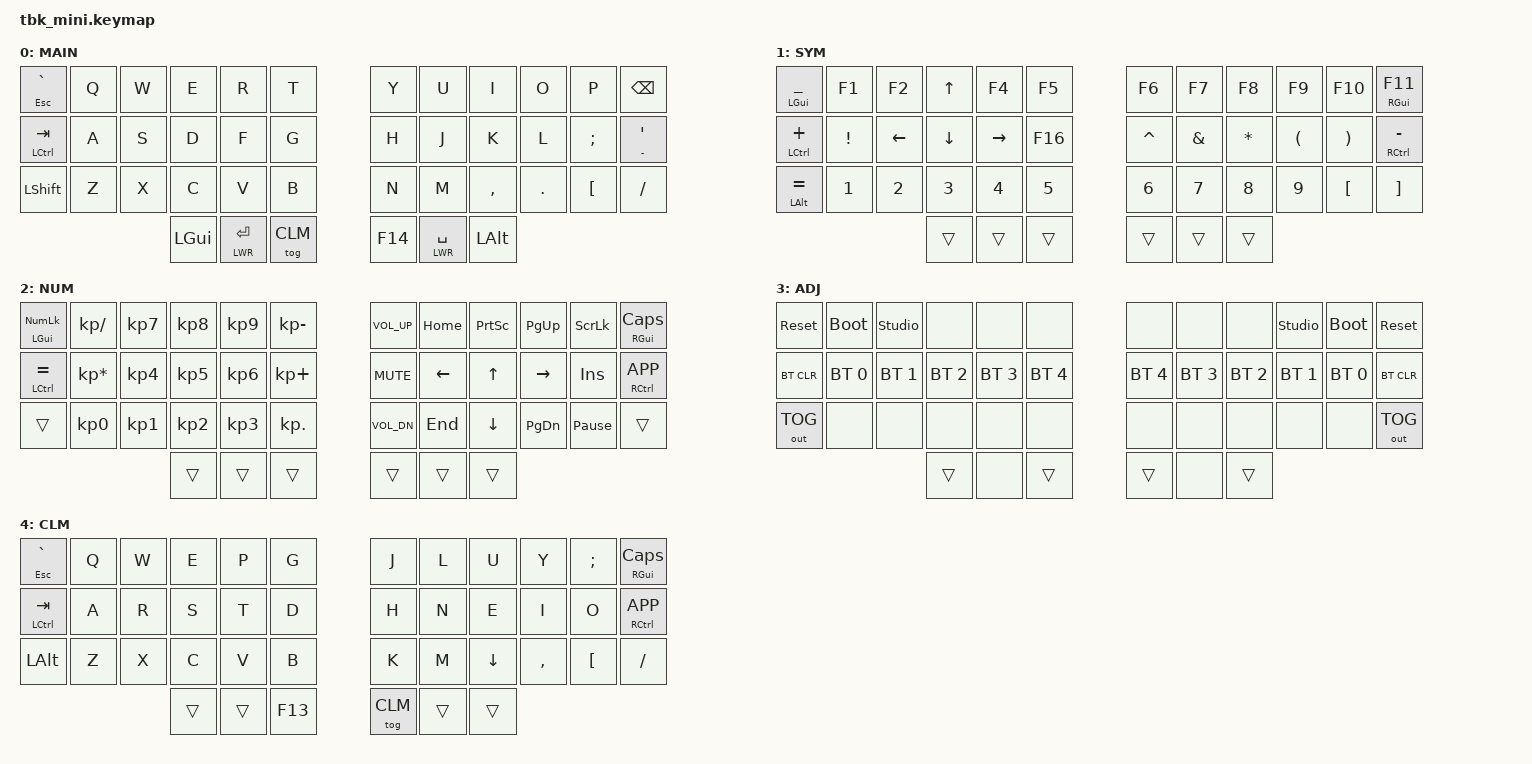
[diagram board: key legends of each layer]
/*
 * Copyright (c) 2023 The ZMK Contributors
 *
 * SPDX-License-Identifier: MIT
 */

#include <behaviors.dtsi>
#include <dt-bindings/zmk/keys.h>
#include <dt-bindings/zmk/bt.h>
#include <dt-bindings/zmk/outputs.h>

#define DEF 0
#define LWR 1
#define RSE 2
#define ADJ 3
#define CLM 4

&lt { quick-tap-ms = <200>; };
&mt { quick-tap-ms = <200>; };

/ {
    conditional_layers {
        compatible = "zmk,conditional-layers";
        tri_layer {
            if-layers = <LWR RSE>;
            then-layer = <ADJ>;
        };
    };

        keymap {
                compatible = "zmk,keymap";

                default_layer {
                        display-name = "MAIN";
// -----------------------------------------------------------------------------------------
// |   ~  |  Q  |  W  |  E  |  R  |  T  |   |  Y  |  U   |  I  |  O  |  P  | BSPC |
// | TAB  |  A  |  S  |  D  |  F  |  G  |   |  H  |  J   |  K  |  L  |  ;  |MINUS/'|
// | LALT |  Z  |  X  |  C  |  V  |  B  |   |  N  |  M   |  ,  |  .  |  [  |    / |
//                    | LGUI| LWR | CLM |   | F14 | LWR | LALT|
                        bindings = <
   &mt ESC GRAVE   &kp Q &kp W &kp E &kp R &kp T &kp Y         &kp U  &kp I     &kp O   &kp P    &kp BSPC
   &mt LCTRL TAB   &kp A &kp S &kp D &kp F &kp G &kp H         &kp J  &kp K     &kp L   &kp SEMI &mt MINUS SQT
   &kp LSHFT        &kp Z &kp X &kp C &kp V &kp B &kp N         &kp M  &kp COMMA &kp DOT &kp LBKT &kp FSLH
                   &kp LGUI  &mt LWR RET &tog CLM            &kp F14 &mt LWR SPACE &kp LALT 
                        >;
                };
                lower_layer {
                        display-name = "SYM";
// -----------------------------------------------------------------------------------------
// |  _  |  F1 |  F2 |  UP |  F4 |  F5 |   |  7  |  8  |  9  |   | F10 | F11 |
// |  +  |  !  |LEFT |DOWN |RIGHT| F16 |   |  4  |  5  |  6  |  (  |  )  |  -  |
// |  =  |  1  |  2  |  3  |  4  |  5  |   |  1  |  2  |  3  |  9  |  [  | ] |
//                   | ADJ |     |     |   |     |     |  0  |
                        bindings = <
   &mt LGUI UNDER &kp F1   &kp F2 &kp UP   &kp F4   &kp F5           &kp F6    &kp F7   &kp F8   &kp F9   &kp F10  &mt RGUI F11
   &mt LCTRL PLUS &kp EXCL &kp LEFT &kp DOWN &kp RIGHT &kp F16        &kp CARET &kp AMPS &kp STAR &kp LPAR &kp RPAR &mt RCTRL MINUS
   &mt LALT EQUAL &kp N1   &kp N2 &kp N3   &kp N4   &kp N5           &kp N6    &kp N7   &kp N8   &kp N9   &kp LBKT   &kp RBKT
                                         &trans &trans &trans      &trans &trans &trans
                        >;
                };

                raise_layer {
                        display-name = "NUM";
// -----------------------------------------------------------------------------------------
// | NMLK |  /  |  7  |  8  |  9  |  -  |   | VOLU| HOME| PRSC| PGUP| SCLK| CLCK|
// |CTRL/=|  *  |  4  |  5  |  6  |  +  |   | MUT | LEFT|  UP | RGHT| INS | APP |
// |      |  0  |  1  |  2  |  3  |  .  |   | VOLD| END | DOWN| PGDN| PAUS|     |
//                    |     |     | ADJ |   | ADJ |     |     |
                        bindings = <
   &mt LGUI KP_NUM &kp KP_SLASH    &kp KP_N7 &kp KP_N8 &kp KP_N9 &kp KP_MINUS        &kp C_VOL_UP &kp HOME &kp PSCRN &kp PG_UP &kp SLCK &mt RGUI CAPS
   &mt LCTRL EQUAL &kp KP_MULTIPLY &kp KP_N4 &kp KP_N5 &kp KP_N6 &kp KP_PLUS         &kp C_MUTE   &kp LEFT &kp UP    &kp RIGHT &kp INS  &mt RCTRL K_APP
   &trans          &kp KP_N0       &kp KP_N1 &kp KP_N2 &kp KP_N3 &kp KP_DOT          &kp C_VOL_DN &kp END  &kp DOWN  &kp PG_DN &kp PAUSE_BREAK &trans
                                                         &trans &trans &trans        &trans &trans &trans
                        >;
                };
                adjust_layer {
                        display-name = "ADJ";
// -----------------------------------------------------------------------------------------
// | RST  | BLDR| STU |     |     |     |   |     |     |     | STU | BLDR| RST  |
// | BTCLR| BT0 | BT1 | BT2 | BT3 | BT4 |   | BT4 | BT3 | BT2 | BT1 | BT0 | BTCLR|
// | OUT  |     |     |     |     |     |   |     |     |     |     |     | OUT  |
//                    |     |     |     |   |     |     |     |
                        bindings = <
   &sys_reset   &bootloader  &studio_unlock &none        &none        &none              &none        &none        &none        &studio_unlock &bootloader   &sys_reset
   &bt BT_CLR   &bt BT_SEL 0 &bt BT_SEL 1   &bt BT_SEL 2 &bt BT_SEL 3 &bt BT_SEL 4       &bt BT_SEL 4 &bt BT_SEL 3 &bt BT_SEL 2 &bt BT_SEL 1   &bt BT_SEL 0  &bt BT_CLR
   &out OUT_TOG &none        &none          &none        &none        &none              &none        &none        &none        &none          &none         &out OUT_TOG
                                                               &trans &none &trans       &trans &none &trans
                        >;
                };
                colemak_layer {
                        display-name = "CLM";
// -----------------------------------------------------------------------------------------
// | ~    |  Q  |  W  |  E  |  P  |  G  |   | J | L | U | Y | ; | BSPC |
// |CTRL  |  A  |  R  |  S  |  T  |  D  |   | H | N | E | I | O | APP |
// | LALT |  Z  |  X  |  C  |  V  |  B  |   | K | M | , | . | [ |   / |
//                    |     |     | F13 |   | DEF |     |     |
                        bindings = <
   &mt ESC GRAVE  &kp Q &kp W &kp E &kp P &kp G        &kp J &kp L &kp U &kp Y &kp SEMI &mt RGUI CAPS
   &mt LCTRL TAB &kp A &kp R &kp S &kp T &kp D         &kp H   &kp N &kp E    &kp I &kp O  &mt RCTRL K_APP
   &kp LALT  &kp Z &kp X &kp C &kp V &kp B             &kp K &kp M  &kp DOWN  &kp COMMA &kp LBKT &kp FSLH
                        &trans &trans &kp F13        &tog CLM &trans &trans
                        >;
                };
        };
};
